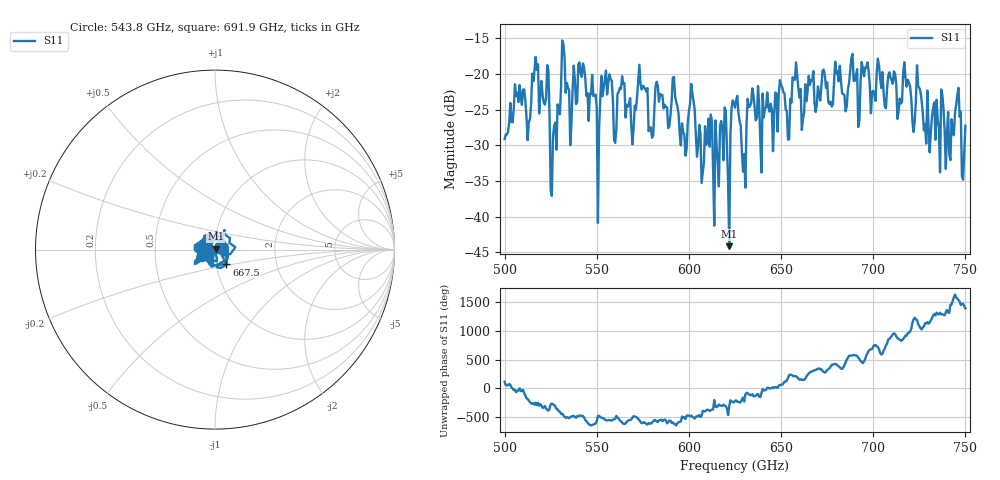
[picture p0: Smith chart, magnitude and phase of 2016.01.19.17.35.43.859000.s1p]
!Created with skrf (http://scikit-rf.org).
# GHz S RI R 50.0
!freq ReS11 ImS11
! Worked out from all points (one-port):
!   401 points, 500 GHz to 750 GHz, reference 50 ohm
!   lowest |S11| = -44.1 dB at 621.9 GHz (marker M1), VSWR 1.01, Z = 50.4 + j0.498 ohm
!   |S11| at or under -10 dB: start of sweep to end of sweep
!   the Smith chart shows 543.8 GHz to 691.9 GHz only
!   S11 on the Smith chart (normalised r, x): 543.8 GHz: 0.83, +0.02; 667.5 GHz: 1.12, -0.19; 691.9 GHz: 0.92, +0.01
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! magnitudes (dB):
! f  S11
! 500 GHz  -29.1
! 506.9 GHz  -22.6
! 513.1 GHz  -26.8
! 516.9 GHz  -17.6
! 523.1 GHz  -18.8
! 526.2 GHz  -28.8
! 531.2 GHz  -15.3
! 535.6 GHz  -30.0
! 543.8 GHz  -20.5
! 550.6 GHz  -40.9
! 553.8 GHz  -22.0
! 560 GHz  -29.7
! 562.5 GHz  -21.9
! 593.8 GHz  -24.6
! 598.1 GHz  -31.4
! 601.9 GHz  -22.8
! 615 GHz  -30.0
! 618.8 GHz  -32.1
! 621.9 GHz  -44.1
! 625 GHz  -24.7
! 629.4 GHz  -33.7
! 633.1 GHz  -24.5
! 656.2 GHz  -20.5
! 667.5 GHz  -19.6
! 687.5 GHz  -19.6
! 691.9 GHz  -27.4
! 718.8 GHz  -20.8
! 750 GHz  -27.3
